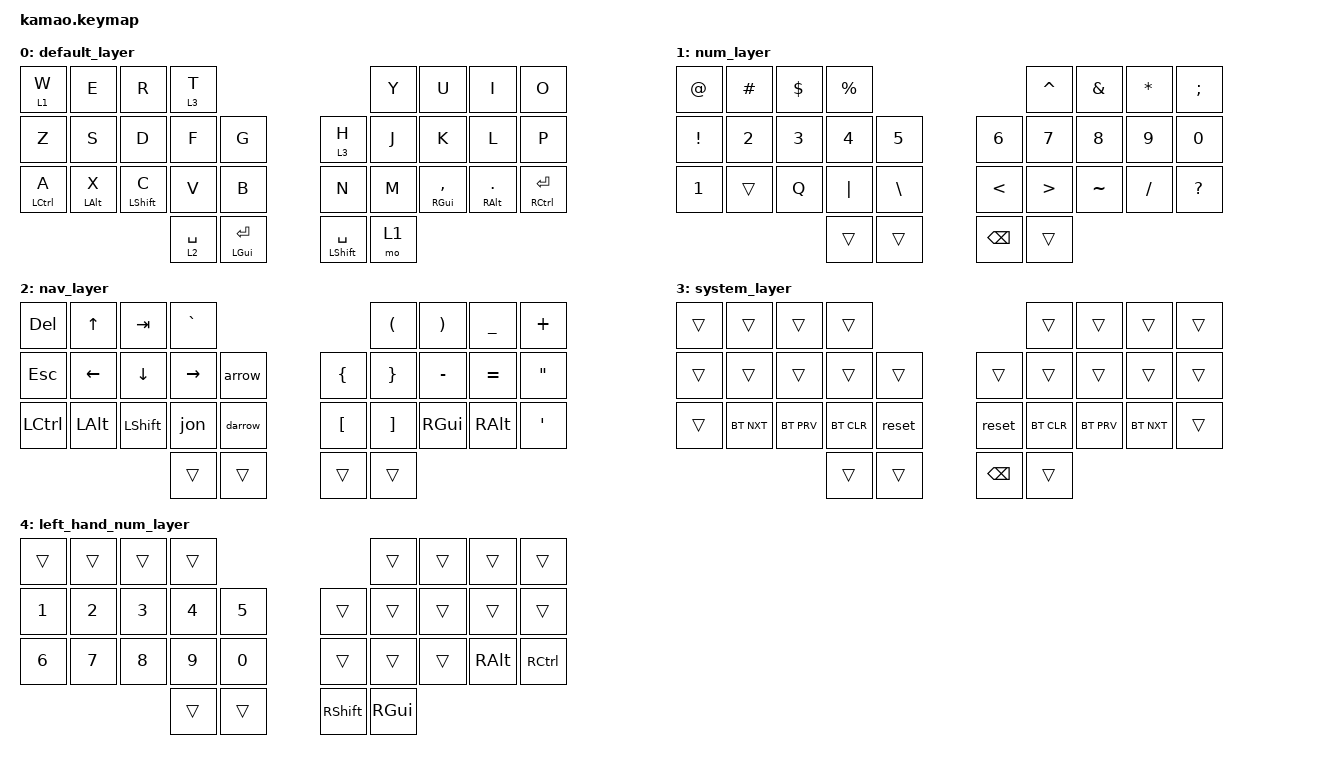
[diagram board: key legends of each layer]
#include <behaviors.dtsi>
#include <dt-bindings/zmk/keys.h>
#include <dt-bindings/zmk/bt.h>

/ {
    behaviors {
        hm: homerow_mods {
            compatible = "zmk,behavior-hold-tap";
            label = "homerow mods";
            #binding-cells = <2>;
            tapping_term_ms = <200>;
            quick-tap-ms = <125>;
            global-quick-tap;
            flavor = "tap-preferred";
            bindings = <&kp>, <&kp>;
        };

    };
    combos {
        compatible = "zmk,combos";

        combo_bspc {
            timeout-ms = <50>;
            key-positions = <15 16>;
            bindings = <&kp BSPC>;
        };


        combo_del {
            timeout-ms = <50>;
            key-positions = <9 10>;
            bindings = <&kp DEL>;
        };

        combo_semicolon {
            timeout-ms = <50>;
            key-positions = <17 27>;
            bindings = <&kp SEMICOLON>;
        };

        combo_numlayer {
            timeout-ms = <50>;
            key-positions = <28 29>;
            bindings = <&mo 4>;
        };
    };
    macros {
        jon: jon {
            label = "jon";
            compatible = "zmk,behavior-macro";
            #binding-cells = <0>;
            wait-ms = <10>;
            bindings
                = <&macro_tap_time 10>
                , <&kp J &kp A &kp M &kp M &kp E &kp R>
                ;
        };

        arrow: arrow {
            label = "arrow";
            compatible = "zmk,behavior-macro";
            #binding-cells = <0>;
            wait-ms = <10>;
            bindings
                = <&macro_tap_time 10>
                , <&kp MINUS &kp GT>
                ;
        };

        darrow: darrow {
            label = "double arrow";
            compatible = "zmk,behavior-macro";
            #binding-cells = <0>;
            wait-ms = <10>;
            bindings
                = <&macro_tap_time 10>
                , <&kp EQUAL &kp GT>
                ;
        };
    };
   
    keymap {
        compatible = "zmk,keymap";

        default_layer {
            bindings = <
                        &lt 1 W   &kp E   &kp R   &lt 3 T                       &kp Y   &kp U   &kp I   &kp O     
                &kp Z   &kp S   &kp D   &kp F   &kp G                       &lt 3 H   &kp J   &kp K   &kp L   &kp P   
                &hm LCTRL A  &hm LALT X   &hm LSHFT C   &kp V   &kp B      &kp N   &kp M   &hm RGUI COMMA   &hm RALT DOT   &hm RCTL ENTER
                        &lt 2 SPACE  &hm LGUI ENTER                  &hm LSHFT SPACE  &mo 1    
            >;
        };

        num_layer {
            bindings = <
                    &kp AT   &kp HASH   &kp DOLLAR   &kp PERCENT           &kp CARET   &kp AMPS   &kp STAR   &kp SEMICOLON
                &kp EXCL   &kp N2   &kp N3   &kp N4   &kp N5                          &kp N6   &kp N7  &kp N8   &kp N9   &kp N0  
                &kp N1 &trans  &kp Q  &kp PIPE    &kp BSLH           &kp LT   &kp GT   &kp TILDE   &kp FSLH   &kp QMARK 
                        &trans   &trans                     &kp BSPC   &trans  
            >;
        };

        nav_layer {
            bindings = <
                     &kp DEL   &kp UP  &kp TAB   &kp GRAVE              &kp LPAR   &kp RPAR     &kp UNDER   &kp PLUS   
                &kp ESC    &kp LEFT   &kp DOWN   &kp RIGHT   &arrow           &kp LBRC   &kp RBRC   &kp MINUS   &kp EQUAL    &kp DQT 
                &kp LCTRL   &kp LALT   &kp LSHFT   &jon   &darrow       &kp LBKT   &kp RBKT   &kp RGUI   &kp RALT   &kp SQT 
                        &trans   &trans                     &trans   &trans  
            >;
        };

        system_layer {
            bindings = <
                     &trans   &trans  &trans   &trans               &trans   &trans  &trans   &trans   
                 &trans   &trans  &trans   &trans  &trans            &trans   &trans  &trans   &trans    &trans
                 &trans   &bt BT_NXT  &bt BT_PRV  &bt BT_CLR   &reset      &reset   &bt BT_CLR  &bt BT_PRV   &bt BT_NXT  &trans
                        &trans   &trans                     &kp BSPC   &trans  
            >;
        };

        left_hand_num_layer {
            bindings = <
                     &trans   &trans  &trans   &trans               &trans   &trans  &trans   &trans   
                 &kp N1   &kp N2   &kp N3   &kp N4   &kp N5            &trans   &trans  &trans   &trans    &trans
                 &kp N6   &kp N7  &kp N8   &kp N9   &kp N0        &trans   &trans  &trans    &kp RALT     &kp RCTRL
                        &trans   &trans                     &kp RSHFT    &kp RGUI  
            >;
        };

    };
};
